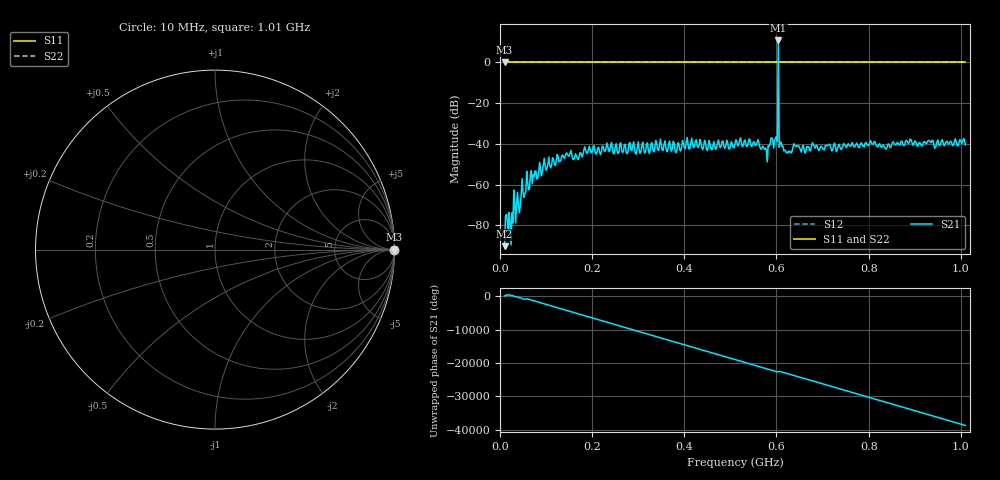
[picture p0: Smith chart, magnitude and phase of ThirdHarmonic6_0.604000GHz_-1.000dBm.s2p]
! 8/15/2025 7:45:07 PM
! C:\ANRITSUVNA\TEMP\TEMP.S2P
! CHANNEL.1
! TR.MEASUREMENT
! RAW.DATA
! RF.CORRECTION.OFF
! AVERAGING.OFF
! IF.BANDWIDTH: 5KHZ
! SWEEPTYPE:  FREQ.SWEEP(Linear)
! Reference Plane Port Info
! PORT:  PORT1  PORT2
! DISTANCE:  0  m  0  m
! TIME:  0  s  0  s
! PHASE.OFFSET:  0  deg.  0  deg.
! LOSS:  0  dB  0  dB
! REF.LOSS:  0  dB  0  dB
! REF.FREQ:  0  Hz  0  Hz
! Power Info
! POWER:  -20  dBm  -20  dBm
! EFF.POWER:  -20  dBm  -20  dBm
! SOURCE.ATTEN:  0  dB  0  dB
! TEST.ATTEN:  0  dB  0  dB
# GHZ S RI R 50.0
! FREQ.GHZ  S11RE  S11IM  S21RE  S21IM  S12RE  S12IM  S22RE  S22IM
!; PortSelection: Port_12
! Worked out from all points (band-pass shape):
!   501 points, 10 MHz to 1.01 GHz, reference 50 ohm
!   highest |S21| = 10.79 dB at 604 MHz (marker M1); lowest = -90.2 dB at 10 MHz (marker M2)
!   |S21| within 3 dB of the highest: 603.8793 MHz to 604.1145 MHz (235.2 kHz wide, 0.0389 % of centre)
!   lowest |S11| = 0.0 dB at 10 MHz (marker M3)
!   |S11| at or under -10 dB: nowhere
!   |S22| runs from 0.0 to 0.0 dB; largest |S21 - S12| = 3.1
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0.01  1 0  -1.98e-05 2.37e-05  1 0  1 0
0.024  1 0  -3.16e-05 -9.9e-06  1 0  1 0
0.034  1 0  -8.1e-05 -8.23e-05  1 0  1 0
0.038  1 0  -0.000506 0.000404  1 0  1 0
0.05  1 0  0.000463 -0.000478  1 0  1 0
0.07  1 0  -0.00088 -0.000585  1 0  1 0
0.14  1 0  0.000698 -0.00437  1 0  1 0
0.178  1 0  -0.00477 0.000146  1 0  1 0
0.344  1 0  0.00617 -0.00314  1 0  1 0
0.51  1 0  -0.00854 0.00544  1 0  1 0
0.556  1 0  0.00067 0.00951  1 0  1 0
0.576  1 0  0.00773 0.00153  1 0  1 0
0.588  1 0  -0.00475 -0.013  1 0  1 0
0.598  1 0  -0.0136 -0.00423  1 0  1 0
0.6  1 0  -0.00214 0.015  1 0  1 0
0.604  1 0  1.681 3.028  1 0  1 0
0.608  1 0  -0.00739 0.00831  1 0  1 0
0.61  1 0  0.0084 0.00714  1 0  1 0
0.62  1 0  0.00654 0.0014  1 0  1 0
0.678  1 0  -0.00722 -0.00783  1 0  1 0
0.844  1 0  0.00871 0.00469  1 0  1 0
1.01  1 0  -0.00944 0.000253  1 0  1 0
